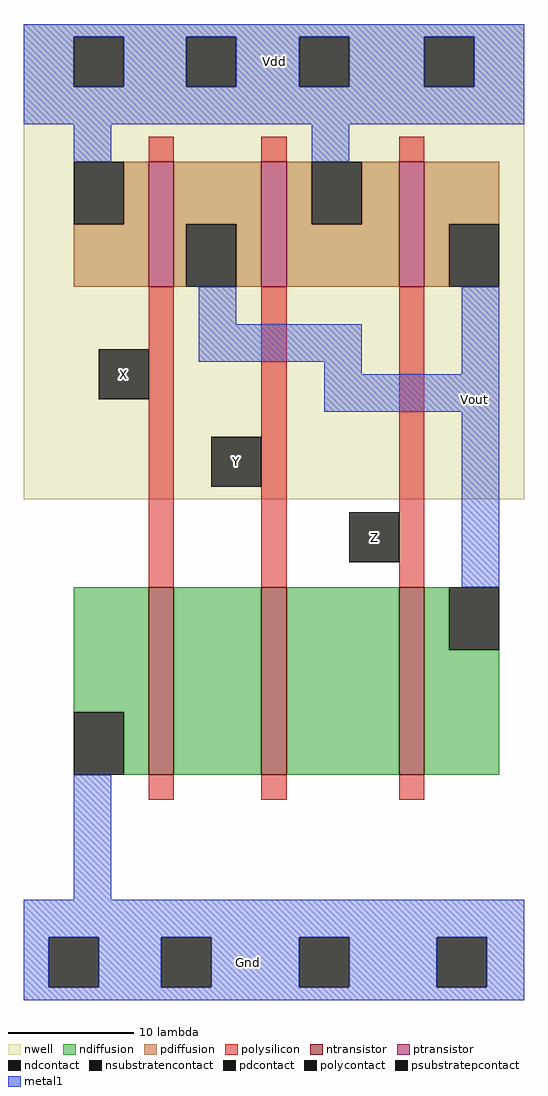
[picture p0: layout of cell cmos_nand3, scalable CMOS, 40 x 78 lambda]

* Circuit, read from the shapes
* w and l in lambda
.subckt cmos_nand3 Gnd Vdd Vout X Y Z
M1 n1 X Gnd Gnd nfet w=15 l=2
M2 n2 Y n1 Gnd nfet w=15 l=2
M3 Vout Z n2 Gnd nfet w=15 l=2
M4 Vout X Vdd Vdd pfet w=10 l=2
M5 Vdd Y Vout Vdd pfet w=10 l=2
M6 Vout Z Vdd Vdd pfet w=10 l=2
.ends

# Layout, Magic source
magic
tech scmos
<< nwell >>
rect -5 22 35 60
<< polysilicon >>
rect 5 49 7 51
rect 14 49 16 51
rect 25 49 27 51
rect 5 15 7 39
rect 14 15 16 39
rect 25 15 27 39
rect 5 -2 7 0
rect 14 -2 16 0
rect 25 -2 27 0
<< ndiffusion >>
rect -1 5 5 15
rect 3 0 5 5
rect 7 0 14 15
rect 16 0 25 15
rect 27 10 29 15
rect 27 0 33 10
<< pdiffusion >>
rect 3 44 5 49
rect -1 39 5 44
rect 7 44 14 49
rect 7 39 8 44
rect 12 39 14 44
rect 16 44 18 49
rect 22 44 25 49
rect 16 39 25 44
rect 27 44 33 49
rect 27 39 29 44
<< metal1 >>
rect -5 59 35 60
rect -5 55 -1 59
rect 3 55 8 59
rect 12 55 17 59
rect 21 55 27 59
rect 31 55 35 59
rect -5 52 35 55
rect -1 49 2 52
rect 18 49 21 52
rect 9 36 12 39
rect 9 33 22 36
rect 19 32 22 33
rect 30 32 33 39
rect 19 29 33 32
rect 30 15 33 29
rect -1 -10 2 0
rect -5 -13 35 -10
rect -5 -17 -3 -13
rect 1 -17 6 -13
rect 10 -17 17 -13
rect 21 -17 28 -13
rect 32 -17 35 -13
rect -5 -18 35 -17
<< ntransistor >>
rect 5 0 7 15
rect 14 0 16 15
rect 25 0 27 15
<< ptransistor >>
rect 5 39 7 49
rect 14 39 16 49
rect 25 39 27 49
<< polycontact >>
rect 1 30 5 34
rect 10 23 14 27
rect 21 17 25 21
<< ndcontact >>
rect -1 0 3 5
rect 29 10 33 15
<< pdcontact >>
rect -1 44 3 49
rect 8 39 12 44
rect 18 44 22 49
rect 29 39 33 44
<< psubstratepcontact >>
rect -3 -17 1 -13
rect 6 -17 10 -13
rect 17 -17 21 -13
rect 28 -17 32 -13
<< nsubstratencontact >>
rect -1 55 3 59
rect 8 55 12 59
rect 17 55 21 59
rect 27 55 31 59
<< labels >>
rlabel polycontact 23 19 23 19 1 Z
rlabel metal1 13 -15 13 -15 1 Gnd
rlabel polycontact 3 32 3 32 1 X
rlabel polycontact 12 25 12 25 1 Y
rlabel metal1 15 57 15 57 5 Vdd
rlabel metal1 31 30 31 30 7 Vout
<< end >>
